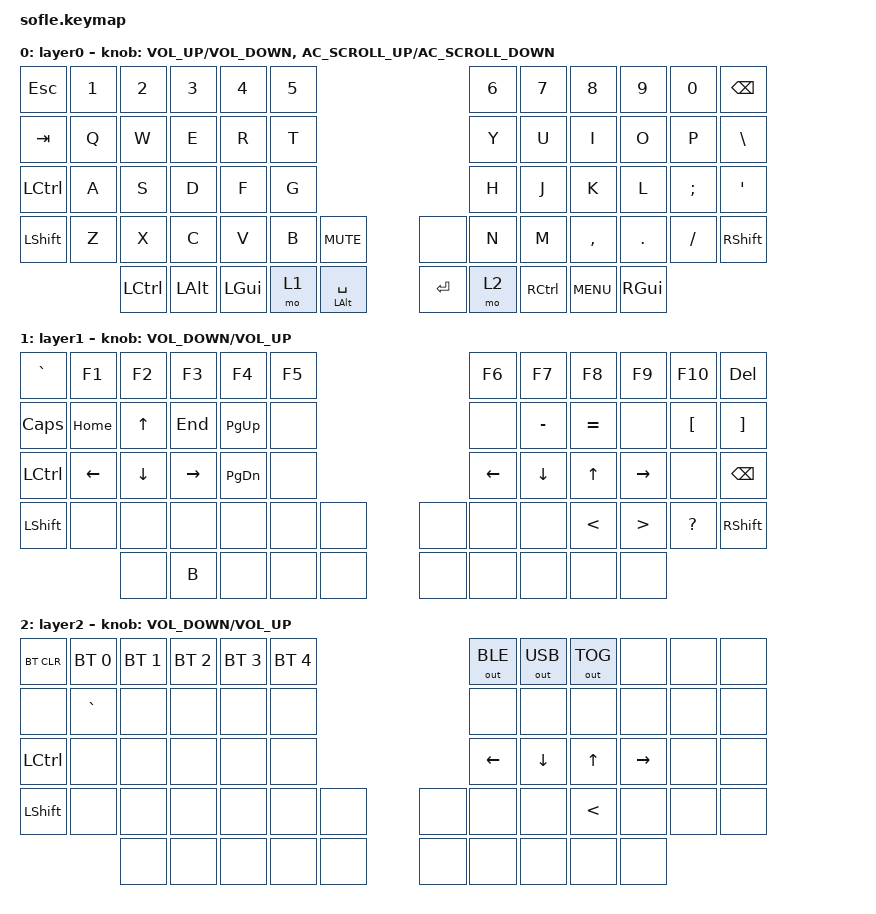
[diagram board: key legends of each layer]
#include <behaviors.dtsi>
#include <dt-bindings/zmk/bt.h>
#include <dt-bindings/zmk/keys.h>
#include <dt-bindings/zmk/outputs.h>

/ {
    keymap {
        compatible = "zmk,keymap";

        layer0 {
            bindings = <
&kp ESC     &kp N1  &kp N2     &kp N3    &kp N4    &kp N5                                 &kp N6  &kp N7     &kp N8      &kp N9    &kp N0    &kp BSPC
&kp TAB     &kp Q   &kp W      &kp E     &kp R     &kp T                                  &kp Y   &kp U      &kp I       &kp O     &kp P     &kp BACKSLASH
&kp LCTRL   &kp A   &kp S      &kp D     &kp F     &kp G                                  &kp H   &kp J      &kp K       &kp L     &kp SEMI  &kp SQT
&kp LSHIFT  &kp Z   &kp X      &kp C     &kp V     &kp B   &kp K_MUTE            &none    &kp N   &kp M      &kp COMMA   &kp DOT   &kp FSLH  &kp RSHIFT
                    &kp LCTRL  &kp LALT  &kp LGUI  &mo 1   &mt LEFT_ALT SPACE    &kp RET  &mo 2   &kp RCTRL  &kp C_MENU  &kp RGUI
            >;

            sensor-bindings =
                <&inc_dec_kp C_VOLUME_UP C_VOLUME_DOWN>,
                <&inc_dec_kp C_AC_SCROLL_UP C_AC_SCROLL_DOWN>;
        };

        layer1 {
            bindings = <
&kp GRAVE   &kp F1    &kp F2    &kp F3     &kp F4     &kp F5                  &kp F6    &kp F7     &kp F8         &kp F9            &kp F10           &kp DEL
&kp CAPS    &kp HOME  &kp UP    &kp END    &kp PG_UP  &none                   &none     &kp MINUS  &kp EQUAL      &none             &kp LEFT_BRACKET  &kp RIGHT_BRACKET
&kp LCTRL   &kp LEFT  &kp DOWN  &kp RIGHT  &kp PG_DN  &none                   &kp LEFT  &kp DOWN   &kp UP         &kp RIGHT         &none             &kp BSPC
&kp LSHIFT  &none     &none     &none      &none      &none   &none    &none  &none     &none      &kp LESS_THAN  &kp GREATER_THAN  &kp QUESTION      &kp RSHIFT
                      &none     &kp B      &none      &none   &none    &none  &none     &none      &none          &none
            >;

            sensor-bindings = <&inc_dec_kp C_VOLUME_DOWN C_VOL_UP>;
        };

        layer2 {
            bindings = <
&bt BT_CLR      &bt BT_SEL 0  &bt BT_SEL 1  &bt BT_SEL 2  &bt BT_SEL 3  &bt BT_SEL 4                  &out OUT_BLE  &out OUT_USB  &out OUT_TOG  &none      &none  &none
&none           &kp GRAVE     &none         &none         &none         &none                         &none         &none         &none         &none      &none  &none
&kp LCTRL       &none         &none         &none         &none         &none                         &kp LEFT      &kp DOWN      &kp UP        &kp RIGHT  &none  &none
&kp LEFT_SHIFT  &none         &none         &none         &none         &none         &none    &none  &none         &none         &kp LT        &none      &none  &none
                              &none         &none         &none         &none         &none    &none  &none         &none         &none         &none
            >;

            sensor-bindings = <&inc_dec_kp C_VOLUME_DOWN C_VOL_UP>;
        };
    };
};
